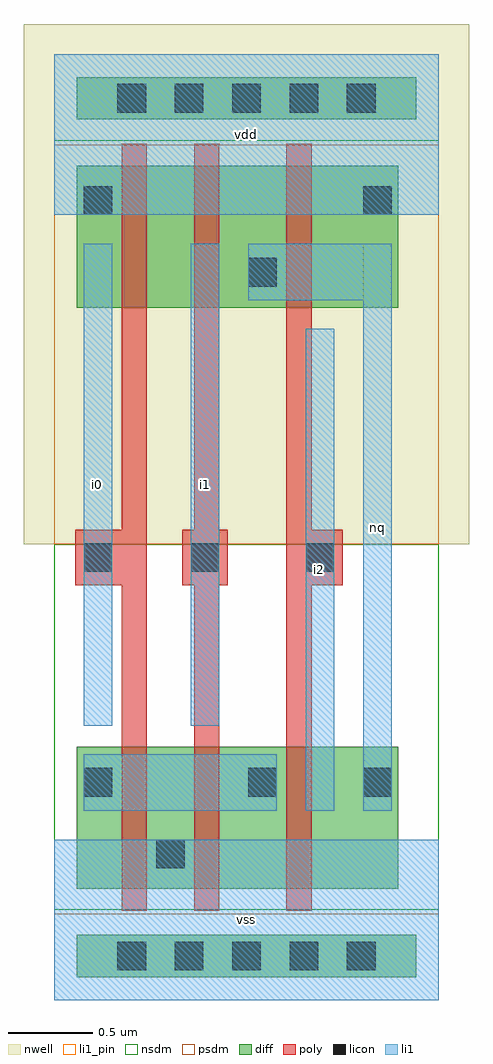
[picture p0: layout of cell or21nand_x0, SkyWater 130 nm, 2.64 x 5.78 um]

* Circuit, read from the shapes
.subckt or21nand_x0 i0 i1 i2 nq vdd vss
XM1 vss i0 n1 VSUBS sky130_fd_pr__nfet_01v8 w=0.84 l=0.15
XM2 n1 i1 vss VSUBS sky130_fd_pr__nfet_01v8 w=0.84 l=0.15
XM3 nq i2 n1 VSUBS sky130_fd_pr__nfet_01v8 w=0.84 l=0.15
XM4 n2 i0 vdd n3 sky130_fd_pr__pfet_01v8 w=0.84 l=0.15
XM5 nq i1 n2 n3 sky130_fd_pr__pfet_01v8 w=0.84 l=0.15
XM6 vdd i2 nq n3 sky130_fd_pr__pfet_01v8 w=0.84 l=0.15
.ends

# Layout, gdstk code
import gdstk
lib = gdstk.Library(unit=1e-6, precision=1e-09)
def R(c, l, rs):  # rectangles x0, y0, x1, y1
    for r in rs: c.add(gdstk.rectangle(r[:2], r[2:], *l))
def A(c, l, x, y, w, h, nx, ny, dx, dy):  # array of equal rectangles
    R(c, l, [(x+i*dx, y+j*dy, x+i*dx+w, y+j*dy+h) for i in range(nx) for j in range(ny)])
def P(c, l, *ps):  # polygons
    for p in ps: c.add(gdstk.Polygon(p, *l))
nwell = (64, 20)
diff = (65, 20)
poly = (66, 20)
licon = (66, 44)
li1_pin = (67, 16)
li1 = (67, 20)
nsdm = (93, 44)
psdm = (94, 20)

or21nand_x0 = lib.new_cell('or21nand_x0')
R(or21nand_x0, nwell, [(-0.18,2.7,2.46,5.78)])
R(or21nand_x0, diff, [(0.135,0.135,2.145,0.385), (0.135,0.66,2.04,1.5), (0.135,4.1,2.04,4.94), (0.135,5.215,2.145,5.465)])
P(or21nand_x0, poly, [(0.4,0.53),(0.4,2.455),(0.125,2.455),(0.125,2.785),(0.4,2.785),(0.4,5.07),(0.55,5.07),(0.55,0.53)],
  [(0.83,0.53),(0.83,2.455),(0.76,2.455),(0.76,2.785),(0.83,2.785),(0.83,5.07),(0.98,5.07),(0.98,2.785),(1.03,2.785),(1.03,2.455),(0.98,2.455),(0.98,0.53)],
  [(1.375,0.53),(1.375,5.07),(1.525,5.07),(1.525,2.785),(1.71,2.785),(1.71,2.455),(1.525,2.455),(1.525,0.53)])
A(or21nand_x0, licon, 0.375, 0.175, 0.17, 0.17, 5, 2, 0.34, 5.08)
R(or21nand_x0, licon, [(0.605,0.78,0.775,0.95), (0.175,1.205,0.345,1.375), (1.15,1.205,1.32,1.375), (1.83,1.205,2,1.375), (0.175,2.535,0.345,2.705), (0.81,2.535,0.98,2.705), (1.49,2.535,1.66,2.705), (1.15,4.225,1.32,4.395), (0.175,4.65,0.345,4.82), (1.83,4.65,2,4.82)])
R(or21nand_x0, li1_pin, [(0,0,2.28,0.95), (1.49,1.12,1.66,3.975), (1.83,1.12,2,4.48), (0.175,1.625,0.345,4.48), (0.81,1.625,0.98,4.48), (0,4.65,2.28,5.6)])
R(or21nand_x0, li1, [(0,0,2.28,0.95), (0.175,1.12,1.32,1.455), (1.49,1.12,1.66,3.975), (0.175,1.625,0.345,4.48), (0.81,1.625,0.98,4.48), (0,4.65,2.28,5.6)])
P(or21nand_x0, li1, [(1.83,1.12),(1.83,4.145),(1.15,4.145),(1.15,4.48),(2,4.48),(2,1.12)])
R(or21nand_x0, nsdm, [(0,0.535,2.28,2.7), (0,5.09,2.28,5.6)])
R(or21nand_x0, psdm, [(0,0,2.28,0.51), (0,2.7,2.28,5.065)])
or21nand_x0.add(gdstk.Label('vdd', (1.14,5.125), layer=67, texttype=16))
or21nand_x0.add(gdstk.Label('vss', (1.14,0.475), layer=67, texttype=16))
or21nand_x0.add(gdstk.Label('i0', (0.26,3.052), layer=67, texttype=16))
or21nand_x0.add(gdstk.Label('i1', (0.895,3.052), layer=67, texttype=16))
or21nand_x0.add(gdstk.Label('nq', (1.915,2.8), layer=67, texttype=16))
or21nand_x0.add(gdstk.Label('i2', (1.575,2.548), layer=67, texttype=16))

lib.write_gds('or21nand_x0.gds')
